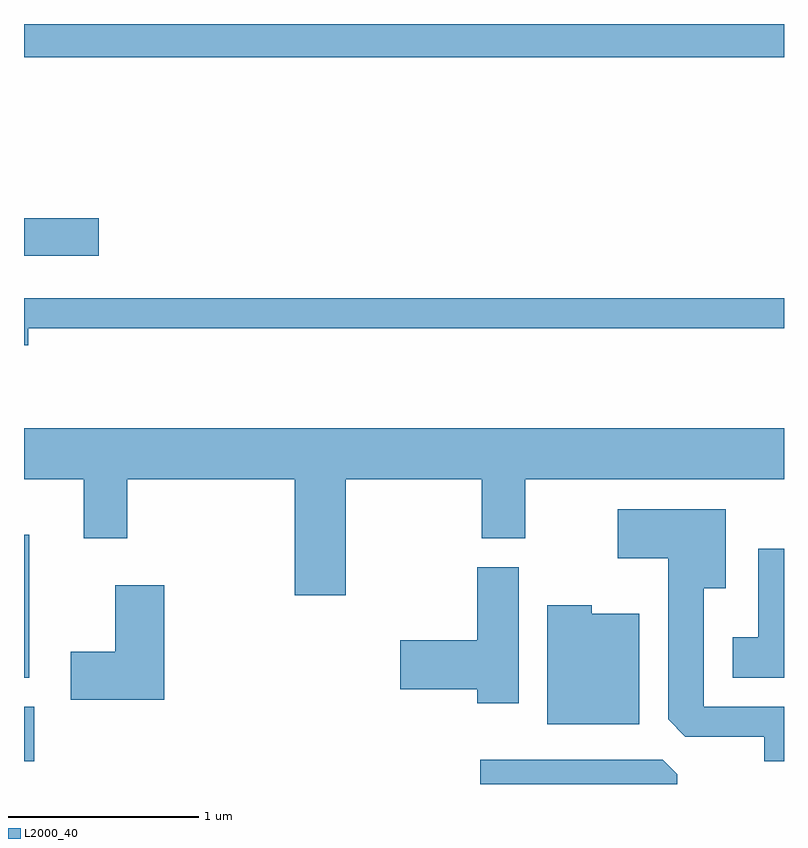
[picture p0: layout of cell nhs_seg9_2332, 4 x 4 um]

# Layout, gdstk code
import gdstk
lib = gdstk.Library(unit=1e-6, precision=1e-09)
def R(c, l, rs):  # rectangles x0, y0, x1, y1
    for r in rs: c.add(gdstk.rectangle(r[:2], r[2:], *l))
def P(c, l, *ps):  # polygons
    for p in ps: c.add(gdstk.Polygon(p, *l))
L2000_40 = (2000, 40)

nhs_seg9_2332 = lib.new_cell('nhs_seg9_2332')
R(nhs_seg9_2332, L2000_40, [(253.611,1992.551,253.664,1992.839), (253.611,1992.991,253.639,1993.744), (253.611,1995.211,254.004,1995.409), (253.611,1996.256,257.611,1996.432)])
P(nhs_seg9_2332, L2000_40, [(253.634,1994.831),(257.611,1994.831),(257.611,1994.989),(253.611,1994.989),(253.611,1994.741),(253.634,1994.741)],
  [(255.304,1994.036),(256.021,1994.036),(256.021,1993.726),(256.249,1993.726),(256.249,1994.036),(257.611,1994.036),(257.611,1994.304),(253.611,1994.304),(253.611,1994.036),(253.926,1994.036),(253.926,1993.726),(254.154,1993.726),(254.154,1994.036),(255.036,1994.036),(255.036,1993.426),(255.304,1993.426)],
  [(257.611,1992.839),(257.189,1992.839),(257.189,1993.461),(257.304,1993.461),(257.304,1993.879),(256.736,1993.879),(256.736,1993.621),(257.001,1993.621),(257.001,1992.772),(257.092,1992.681),(257.506,1992.681),(257.506,1992.551),(257.611,1992.551)],
  [(257.611,1993.669),(257.476,1993.669),(257.476,1993.204),(257.341,1993.204),(257.341,1992.991),(257.611,1992.991)],
  [(256.214,1993.574),(255.996,1993.574),(255.996,1993.189),(255.591,1993.189),(255.591,1992.931),(255.996,1992.931),(255.996,1992.856),(256.214,1992.856)],
  [(254.349,1993.479),(254.091,1993.479),(254.091,1993.129),(253.856,1993.129),(253.856,1992.876),(254.349,1992.876)],
  [(256.849,1993.329),(256.599,1993.329),(256.599,1993.374),(256.366,1993.374),(256.366,1992.746),(256.849,1992.746)],
  [(257.049,1992.484),(256.974,1992.559),(256.013,1992.559),(256.013,1992.432),(257.049,1992.432)])

lib.write_gds('nhs_seg9_2332.gds')
